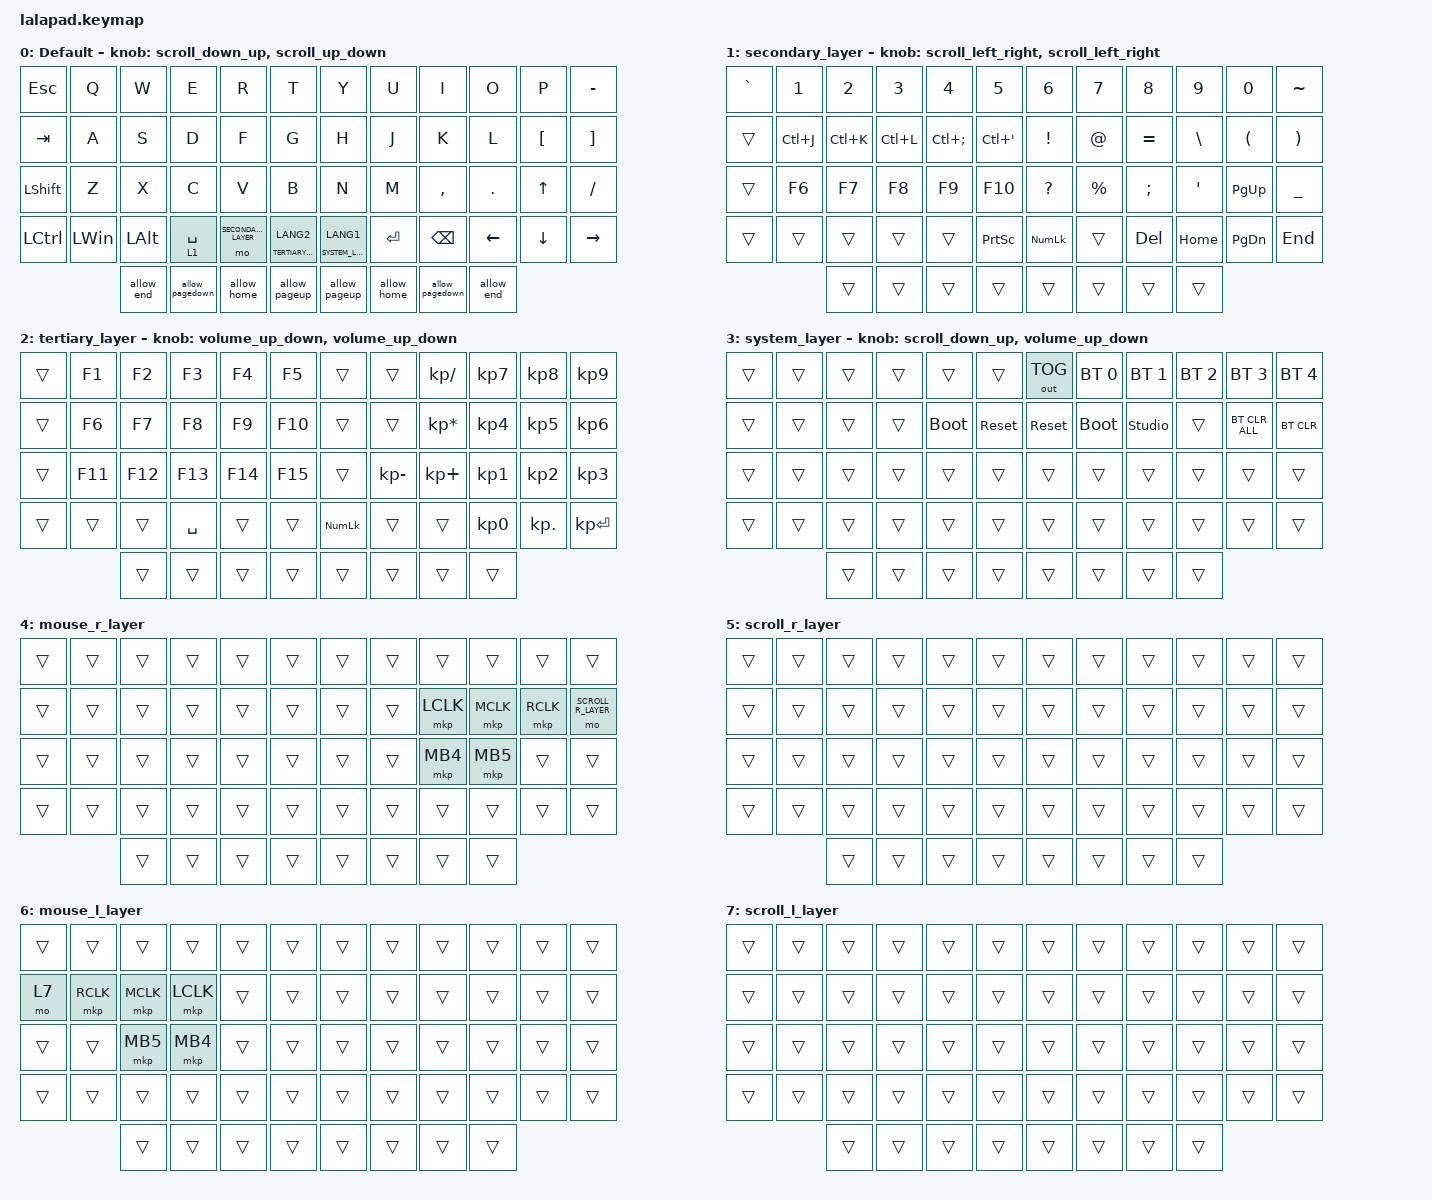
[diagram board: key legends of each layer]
#include <input/processors.dtsi>
#include <behaviors.dtsi>
#include <dt-bindings/zmk/bt.h>
#include <dt-bindings/zmk/keys.h>
#include <dt-bindings/zmk/outputs.h>
#include <dt-bindings/zmk/pointing.h>

#define DEFAULT_LAYER   0
#define SECONDARY_LAYER 1
#define TERTIARY_LAYER  2
#define SYSTEM_LAYER    3
#define MOUSE_R_LAYER   4
#define SCROLL_R_LAYER  5
#define MOUSE_L_LAYER   6
#define SCROLL_L_LAYER  7

// Mouse Scroll Value

#define ZMK_POINTING_DEFAULT_SCRL_VAL 100

// cirque trackpad input&layer control

&glidepoint_listener_R {
    input-processors =
        <&zip_xy_transform (INPUT_TRANSFORM_XY_SWAP | INPUT_TRANSFORM_X_INVERT | INPUT_TRANSFORM_Y_INVERT)>,
        <&zip_xy_scaler 3 2>,
        <&zip_temp_layer MOUSE_R_LAYER 500>;

    lowspeedmode {
        layers = <SECONDARY_LAYER>;
        input-processors =
            <&zip_xy_transform (INPUT_TRANSFORM_XY_SWAP | INPUT_TRANSFORM_X_INVERT | INPUT_TRANSFORM_Y_INVERT)>,
            <&zip_xy_scaler 3 5>,
            <&zip_temp_layer MOUSE_R_LAYER 500>;
    };

    scroller {
        layers = <SCROLL_R_LAYER>;
        input-processors =
            <&zip_xy_to_scroll_mapper>,
            <&zip_scroll_transform (INPUT_TRANSFORM_XY_SWAP | INPUT_TRANSFORM_Y_INVERT)>,
            <&zip_scroll_scaler 1 8>;
    };
};

&glidepoint_listener_L {
    input-processors =
        <&zip_xy_transform (INPUT_TRANSFORM_XY_SWAP | INPUT_TRANSFORM_X_INVERT | INPUT_TRANSFORM_Y_INVERT)>,
        <&zip_xy_scaler 3 2>,
        <&zip_temp_layer MOUSE_L_LAYER 500>;

    lowspeedmode {
        layers = <SECONDARY_LAYER>;
        input-processors =
            <&zip_xy_transform (INPUT_TRANSFORM_XY_SWAP | INPUT_TRANSFORM_X_INVERT | INPUT_TRANSFORM_Y_INVERT)>,
            <&zip_xy_scaler 3 4>,
            <&zip_temp_layer MOUSE_L_LAYER 500>;
    };

    scroller {
        layers = <SCROLL_L_LAYER>;
        input-processors =
            <&zip_xy_to_scroll_mapper>,
            <&zip_scroll_transform (INPUT_TRANSFORM_XY_SWAP | INPUT_TRANSFORM_Y_INVERT)>,
            <&zip_scroll_scaler 1 6>;
    };
};

/ {
    behaviors {
        // Encoder to Mouse Scroll

        scroll_up_down: sensor_scroll_up_down {
            compatible = "zmk,behavior-sensor-rotate";
            #sensor-binding-cells = <0>;
            bindings = <&msc SCRL_UP>, <&msc SCRL_DOWN>;

            tap-ms = <20>;
            label = "SCROLL_UP_DOWN";
        };

        scroll_down_up: sensor_scroll_down_up {
            compatible = "zmk,behavior-sensor-rotate";
            #sensor-binding-cells = <0>;
            bindings = <&msc SCRL_DOWN>, <&msc SCRL_UP>;

            tap-ms = <20>;
            label = "SCROLL_DOWN_UP";
        };

        scroll_left_right: sensor_scroll_left_right {
            compatible = "zmk,behavior-sensor-rotate";
            #sensor-binding-cells = <0>;
            bindings = <&msc SCRL_LEFT>, <&msc SCRL_RIGHT>;

            tap-ms = <20>;
            label = "SCROLL_LEFT_RIGHT";
        };

        scroll_right_left: sensor_scroll_right_left {
            compatible = "zmk,behavior-sensor-rotate";
            #sensor-binding-cells = <0>;
            bindings = <&msc SCRL_RIGHT>, <&msc SCRL_LEFT>;

            tap-ms = <20>;
            label = "SCROLL_RIGHT_LEFT";
        };

        volume_up_down: sensor_volume_up_down {
            compatible = "zmk,behavior-sensor-rotate";
            #sensor-binding-cells = <0>;
            bindings = <&kp C_VOLUME_UP>, <&kp C_VOLUME_DOWN>;

            tap-ms = <20>;
            label = "VOLUME_UP_DOWN";
        };

        dot_comma: dot_comma {
            compatible = "zmk,behavior-mod-morph";
            #binding-cells = <0>;
            bindings = <&kp KP_DOT>, <&kp COMMA>;

            mods = <(MOD_LSFT|MOD_RSFT)>;
            label = "DOT_COMMA";
        };

        pls_minus: pls_minus {
            compatible = "zmk,behavior-mod-morph";
            #binding-cells = <0>;
            bindings = <&kp PLUS>, <&kp MINUS>;

            mods = <(MOD_LSFT|MOD_RSFT)>;
            label = "PLS_MINUS";
        };

        allow_pageup: allow_pageup {
            compatible = "zmk,behavior-mod-morph";
            #binding-cells = <0>;
            bindings = <&kp UP>, <&kp PAGE_UP>;

            mods = <(MOD_LCTL|MOD_RCTL)>;
            label = "ALLOW_PAGEUP";
        };

        allow_pagedown: allow_pagedown {
            compatible = "zmk,behavior-mod-morph";
            #binding-cells = <0>;
            bindings = <&kp DOWN>, <&kp PAGE_DOWN>;

            mods = <(MOD_LCTL|MOD_RCTL)>;
            label = "ALLOW_PAGEDOWN";
        };

        allow_home: allow_home {
            compatible = "zmk,behavior-mod-morph";
            #binding-cells = <0>;
            bindings = <&kp LEFT>, <&kp HOME>;

            mods = <(MOD_LCTL|MOD_RCTL)>;
            label = "ALLOW_HOME";
        };

        allow_end: allow_end {
            compatible = "zmk,behavior-mod-morph";
            #binding-cells = <0>;
            bindings = <&kp RIGHT>, <&kp END>;

            mods = <(MOD_LCTL|MOD_RCTL)>;
            label = "ALLOW_END";
        };

        mt2: mod_tap2 {
            compatible = "zmk,behavior-hold-tap";
            #binding-cells = <2>;
            flavor = "tap-preferred";
            tapping-term-ms = <200>;
            quick-tap-ms = <200>;
            require-prior-idle-ms = <125>;
            bindings = <&kp>, <&kp>;
        };
    };

    keymap {
        compatible = "zmk,keymap";

        DEFAULT_LAYER {
            display-name = "Default";
            sensor-bindings = <&scroll_down_up>, <&scroll_up_down>;

            bindings = <
&kp ESC    &kp Q         &kp W         &kp E            &kp R                &kp T                     &kp Y                   &kp U        &kp I            &kp O       &kp P     &kp MINUS
&kp TAB    &kp A         &kp S         &kp D            &kp F                &kp G                     &kp H                   &kp J        &kp K            &kp L       &kp LBKT  &kp RBKT
&kp LSHFT  &kp Z         &kp X         &kp C            &kp V                &kp B                     &kp N                   &kp M        &kp COMMA        &kp PERIOD  &kp UP    &kp FSLH
&kp LCTRL  &kp LEFT_WIN  &kp LEFT_ALT  &lt 1 SPACE      &mo SECONDARY_LAYER  &lt TERTIARY_LAYER LANG2  &lt SYSTEM_LAYER LANG1  &kp RET      &kp BACKSPACE    &kp LEFT    &kp DOWN  &kp RIGHT
                         &allow_end    &allow_pagedown  &allow_home          &allow_pageup             &allow_pageup           &allow_home  &allow_pagedown  &allow_end
            >;
        };

        SECONDARY_LAYER {
            display-name = "secondary_layer";
            sensor-bindings = <&scroll_left_right>, <&scroll_left_right>;

            bindings = <
&kp GRAVE  &kp NUMBER_1  &kp NUMBER_2  &kp NUMBER_3  &kp NUMBER_4       &kp NUMBER_5  &kp N6       &kp N7     &kp N8         &kp N9          &kp N0         &kp TILDE
&trans     &kp LC(J)     &kp LC(K)     &kp LC(L)     &kp LC(SEMICOLON)  &kp LC(APOS)  &kp EXCL     &kp AT     &kp EQUAL      &kp BACKSLASH   &kp LPAR       &kp RPAR
&trans     &kp F6        &kp F7        &kp F8        &kp F9             &kp F10       &kp QMARK    &kp PRCNT  &kp SEMICOLON  &kp APOSTROPHE  &kp PAGE_UP    &kp UNDER
&trans     &trans        &trans        &trans        &trans             &kp PSCRN     &kp KP_NLCK  &trans     &kp DELETE     &kp HOME        &kp PAGE_DOWN  &kp END
                         &trans        &trans        &trans             &trans        &trans       &trans     &trans         &trans
            >;
        };

        TERTIARY_LAYER {
            display-name = "tertiary_layer";
            bindings = <
&trans  &kp F1   &kp F2   &kp F3     &kp F4   &kp F5   &trans          &trans        &kp KP_SLASH     &kp KP_NUMBER_7  &kp KP_NUMBER_8  &kp KP_NUMBER_9
&trans  &kp F6   &kp F7   &kp F8     &kp F9   &kp F10  &trans          &trans        &kp KP_ASTERISK  &kp KP_NUMBER_4  &kp KP_NUMBER_5  &kp KP_NUMBER_6
&trans  &kp F11  &kp F12  &kp F13    &kp F14  &kp F15  &trans          &kp KP_MINUS  &kp KP_PLUS      &kp KP_NUMBER_1  &kp KP_NUMBER_2  &kp KP_NUMBER_3
&trans  &trans   &trans   &kp SPACE  &trans   &trans   &kp KP_NUMLOCK  &trans        &trans           &kp KP_NUMBER_0  &kp KP_DOT       &kp KP_ENTER
                 &trans   &trans     &trans   &trans   &trans          &trans        &trans           &trans
            >;

            sensor-bindings = <&volume_up_down>, <&volume_up_down>;
        };

        SYSTEM_LAYER {
            display-name = "system_layer";
            sensor-bindings = <&scroll_down_up>, <&volume_up_down>;

            bindings = <
&trans  &trans  &trans  &trans  &trans       &trans      &out OUT_TOG  &bt BT_SEL 0  &bt BT_SEL 1    &bt BT_SEL 2  &bt BT_SEL 3    &bt BT_SEL 4
&trans  &trans  &trans  &trans  &bootloader  &sys_reset  &sys_reset    &bootloader   &studio_unlock  &trans        &bt BT_CLR_ALL  &bt BT_CLR
&trans  &trans  &trans  &trans  &trans       &trans      &trans        &trans        &trans          &trans        &trans          &trans
&trans  &trans  &trans  &trans  &trans       &trans      &trans        &trans        &trans          &trans        &trans          &trans
                &trans  &trans  &trans       &trans      &trans        &trans        &trans          &trans
            >;
        };

        MOUSE_R_LAYER {
            display-name = "mouse_r_layer";
            bindings = <
&trans  &trans  &trans  &trans  &trans  &trans  &trans  &trans  &trans     &trans     &trans     &trans
&trans  &trans  &trans  &trans  &trans  &trans  &trans  &trans  &mkp LCLK  &mkp MCLK  &mkp RCLK  &mo SCROLL_R_LAYER
&trans  &trans  &trans  &trans  &trans  &trans  &trans  &trans  &mkp MB4   &mkp MB5   &trans     &trans
&trans  &trans  &trans  &trans  &trans  &trans  &trans  &trans  &trans     &trans     &trans     &trans
                &trans  &trans  &trans  &trans  &trans  &trans  &trans     &trans
            >;
        };

        SCROLL_R_LAYER {
            display-name = "scroll_r_layer";
            bindings = <
&trans  &trans  &trans  &trans  &trans  &trans  &trans  &trans  &trans  &trans  &trans  &trans
&trans  &trans  &trans  &trans  &trans  &trans  &trans  &trans  &trans  &trans  &trans  &trans
&trans  &trans  &trans  &trans  &trans  &trans  &trans  &trans  &trans  &trans  &trans  &trans
&trans  &trans  &trans  &trans  &trans  &trans  &trans  &trans  &trans  &trans  &trans  &trans
                &trans  &trans  &trans  &trans  &trans  &trans  &trans  &trans
            >;
        };

        MOUSE_L_LAYER {
            display-name = "mouse_l_layer";
            bindings = <
&trans  &trans     &trans     &trans     &trans  &trans  &trans  &trans  &trans  &trans  &trans  &trans
&mo 7   &mkp RCLK  &mkp MCLK  &mkp LCLK  &trans  &trans  &trans  &trans  &trans  &trans  &trans  &trans
&trans  &trans     &mkp MB5   &mkp MB4   &trans  &trans  &trans  &trans  &trans  &trans  &trans  &trans
&trans  &trans     &trans     &trans     &trans  &trans  &trans  &trans  &trans  &trans  &trans  &trans
                   &trans     &trans     &trans  &trans  &trans  &trans  &trans  &trans
            >;
        };

        SCROLL_L_LAYER {
            display-name = "scroll_l_layer";
            bindings = <
&trans  &trans  &trans  &trans  &trans  &trans  &trans  &trans  &trans  &trans  &trans  &trans
&trans  &trans  &trans  &trans  &trans  &trans  &trans  &trans  &trans  &trans  &trans  &trans
&trans  &trans  &trans  &trans  &trans  &trans  &trans  &trans  &trans  &trans  &trans  &trans
&trans  &trans  &trans  &trans  &trans  &trans  &trans  &trans  &trans  &trans  &trans  &trans
                &trans  &trans  &trans  &trans  &trans  &trans  &trans  &trans
            >;
        };
    };
};
